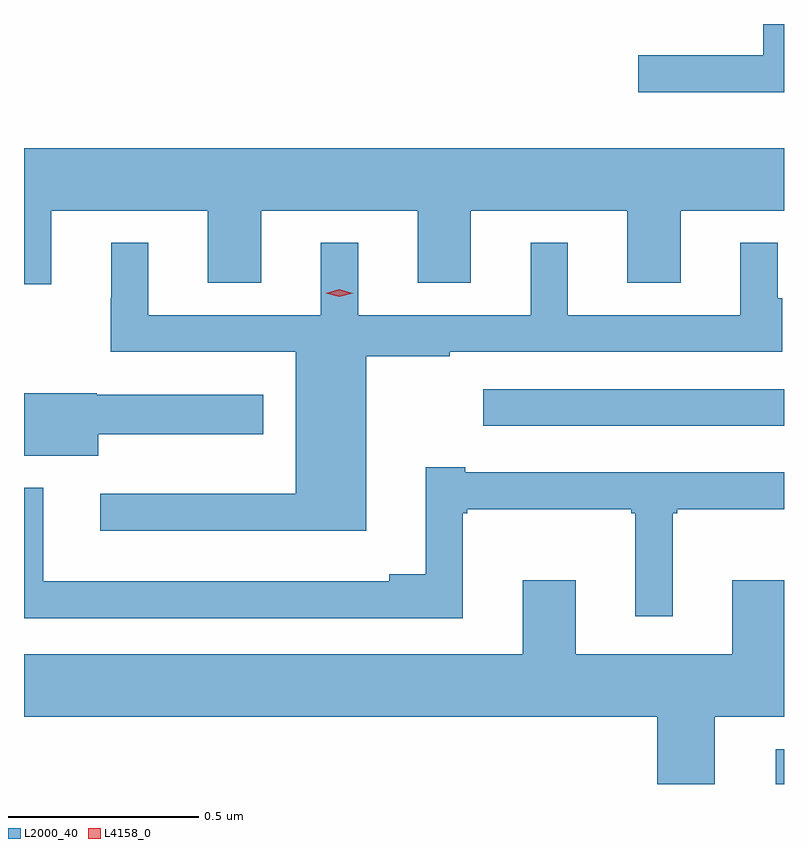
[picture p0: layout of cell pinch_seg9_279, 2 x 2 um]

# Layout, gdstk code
import gdstk
lib = gdstk.Library(unit=1e-6, precision=1e-09)
def R(c, l, rs):  # rectangles x0, y0, x1, y1
    for r in rs: c.add(gdstk.rectangle(r[:2], r[2:], *l))
def P(c, l, *ps):  # polygons
    for p in ps: c.add(gdstk.Polygon(p, *l))
L2000_40 = (2000, 40)
L4158_0 = (4158, 0)

pinch_seg9_279 = lib.new_cell('pinch_seg9_279')
R(pinch_seg9_279, L2000_40, [(435.683,1196.243,435.705,1196.335), (434.913,1197.186,435.705,1197.282)])
P(pinch_seg9_279, L2000_40, [(435.705,1198.243),(435.651,1198.243),(435.651,1198.161),(435.321,1198.161),(435.321,1198.064),(435.705,1198.064)],
  [(433.777,1197.752),(434.189,1197.752),(434.189,1197.562),(434.329,1197.562),(434.329,1197.752),(434.741,1197.752),(434.741,1197.562),(434.881,1197.562),(434.881,1197.752),(435.293,1197.752),(435.293,1197.562),(435.433,1197.562),(435.433,1197.752),(435.705,1197.752),(435.705,1197.916),(433.705,1197.916),(433.705,1197.558),(433.777,1197.558)],
  [(434.605,1197.369),(434.825,1197.369),(434.825,1197.381),(435.7,1197.381),(435.7,1197.521),(435.688,1197.521),(435.688,1197.667),(435.59,1197.667),(435.59,1197.477),(435.136,1197.477),(435.136,1197.667),(435.038,1197.667),(435.038,1197.477),(434.584,1197.477),(434.584,1197.667),(434.486,1197.667),(434.486,1197.477),(434.032,1197.477),(434.032,1197.667),(433.934,1197.667),(433.934,1197.521),(433.933,1197.521),(433.933,1197.381),(434.42,1197.381),(434.42,1197.007),(433.905,1197.007),(433.905,1196.909),(434.605,1196.909)],
  [(433.9,1197.164),(434.335,1197.164),(434.335,1197.268),(433.896,1197.268),(433.896,1197.271),(433.705,1197.271),(433.705,1197.107),(433.9,1197.107)],
  [(434.86,1196.955),(434.872,1196.955),(434.872,1196.966),(435.303,1196.966),(435.303,1196.955),(435.314,1196.955),(435.314,1196.685),(435.412,1196.685),(435.412,1196.955),(435.424,1196.955),(435.424,1196.966),(435.705,1196.966),(435.705,1197.063),(434.866,1197.063),(434.866,1197.076),(434.762,1197.076),(434.762,1196.795),(434.666,1196.795),(434.666,1196.776),(433.756,1196.776),(433.756,1197.022),(433.705,1197.022),(433.705,1196.679),(434.86,1196.679)],
  [(435.523,1196.42),(435.705,1196.42),(435.705,1196.779),(435.569,1196.779),(435.569,1196.584),(435.157,1196.584),(435.157,1196.779),(435.017,1196.779),(435.017,1196.584),(433.705,1196.584),(433.705,1196.42),(435.371,1196.42),(435.371,1196.243),(435.523,1196.243)])
P(pinch_seg9_279, L4158_0, [(434.535,1197.525),(434.499,1197.535),(434.499,1197.535),(434.499,1197.535),(434.535,1197.545),(434.57,1197.535),(434.571,1197.535),(434.57,1197.535)])

lib.write_gds('pinch_seg9_279.gds')
